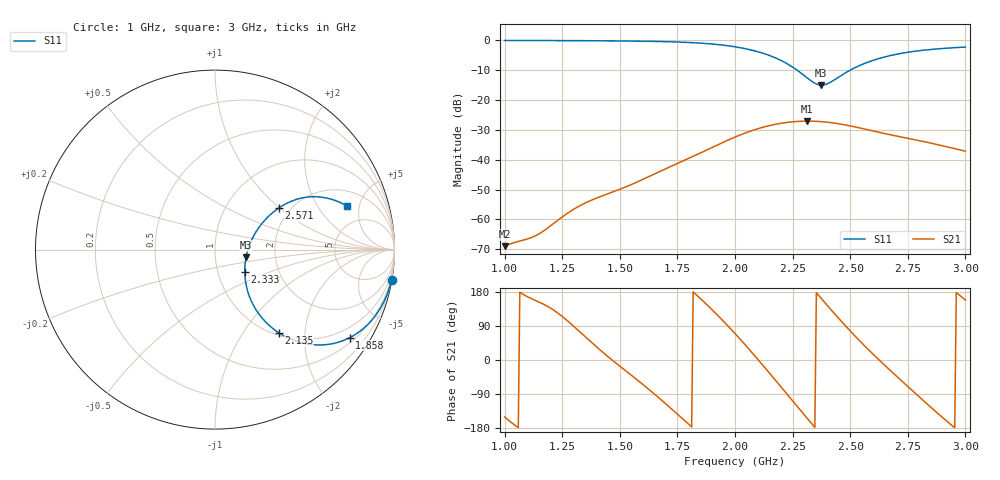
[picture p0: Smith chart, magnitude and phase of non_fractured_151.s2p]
! TOUCHSTONE file generated by CST MICROWAVE STUDIO
! Date and time: Sat Mar  8 13:55:03 2025
! Project name: non_fractured.cst
! Parameters = {B=2.5; D=160; F=25; Feed=2.85625; L=100; M=10; R=0.384908; S=1.5; Theta=180; length=57.125; wave=114.25}
! Header version: 2024
! Port assignment regex: !\s*Touchstone port\s*([0-9]+)\s*=\s*(CST MWS port|CST DES external port|CST DES block port)\s*(.+)\s* \(\"(.*)\"\)(\s*mode\s*([0-9]+))?.*
! Touchstone port assignment:
! Touchstone port 1 = CST MWS port 1 ("")
! Touchstone port 2 = CST MWS port 2 ("")
# GHz S DB R 50
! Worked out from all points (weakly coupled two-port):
!   304 points, 1 GHz to 3 GHz, reference 50 ohm
!   highest |S21| = -27.06 dB at 2.314 GHz (marker M1); lowest = -69.0 dB at 1 GHz (marker M2)
!   lowest |S11| = -15.0 dB at 2.373 GHz (marker M3), VSWR 1.43, Z = 70.6 - j6.16 ohm
!   |S11| at or under -10 dB: 2.27 GHz to 2.499 GHz (229.2 MHz wide, 9.61 % of centre)
!   S12 and S22 are empty: the file has one direction only
!   S11 on the Smith chart (normalised r, x): 1 GHz: 0, -12; 1.858 GHz: 0.65, -3.24; 2.135 GHz: 1.05, -1.47; 2.333 GHz: 1.35, -0.34; 2.571 GHz: 1.75, +0.98; 3 GHz: 3.10, +3.74
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1  -0.02 -9.7  -68.99 -150.3  -200.00 0.0  -200.00 0.0
1.13861  -0.04 -11.7  -65.33 155.8  -200.00 0.0  -200.00 0.0
1.27723  -0.07 -14.0  -57.73 101.1  -200.00 0.0  -200.00 0.0
1.33663  -0.09 -15.1  -55.03 68.8  -200.00 0.0  -200.00 0.0
1.54125  -0.21 -20.0  -48.62 -36.0  -200.00 0.0  -200.00 0.0
1.66667  -0.36 -24.1  -44.19 -98.4  -200.00 0.0  -200.00 0.0
1.77228  -0.61 -28.6  -40.50 -154.8  -200.00 0.0  -200.00 0.0
1.85809  -0.95 -33.2  -37.45 157.5  -200.00 0.0  -200.00 0.0
2.0033  -2.19 -43.1  -32.30 67.7  -200.00 0.0  -200.00 0.0
2.06931  -3.20 -48.0  -30.36 22.7  -200.00 0.0  -200.00 0.0
2.13531  -4.66 -52.5  -28.83 -24.2  -200.00 0.0  -200.00 0.0
2.22772  -7.88 -55.7  -27.48 -91.4  -200.00 0.0  -200.00 0.0
2.31353  -12.58 -44.3  -27.06 -154.0  -200.00 0.0  -200.00 0.0
2.33333  -13.72 -36.5  -27.08 -168.3  -200.00 0.0  -200.00 0.0
2.33993  -14.05 -33.3  -27.09 -173.1  -200.00 0.0  -200.00 0.0
2.37294  -14.99 -13.7  -27.23 163.4  -200.00 0.0  -200.00 0.0
2.40594  -14.37 5.9  -27.47 140.1  -200.00 0.0  -200.00 0.0
2.49835  -10.03 30.1  -28.64 77.8  -200.00 0.0  -200.00 0.0
2.57096  -7.47 33.1  -29.87 32.2  -200.00 0.0  -200.00 0.0
2.66997  -5.16 31.1  -31.58 -25.3  -200.00 0.0  -200.00 0.0
2.82178  -3.26 24.7  -33.95 -109.4  -200.00 0.0  -200.00 0.0
3  -2.24 18.3  -37.13 158.3  -200.00 0.0  -200.00 0.0
